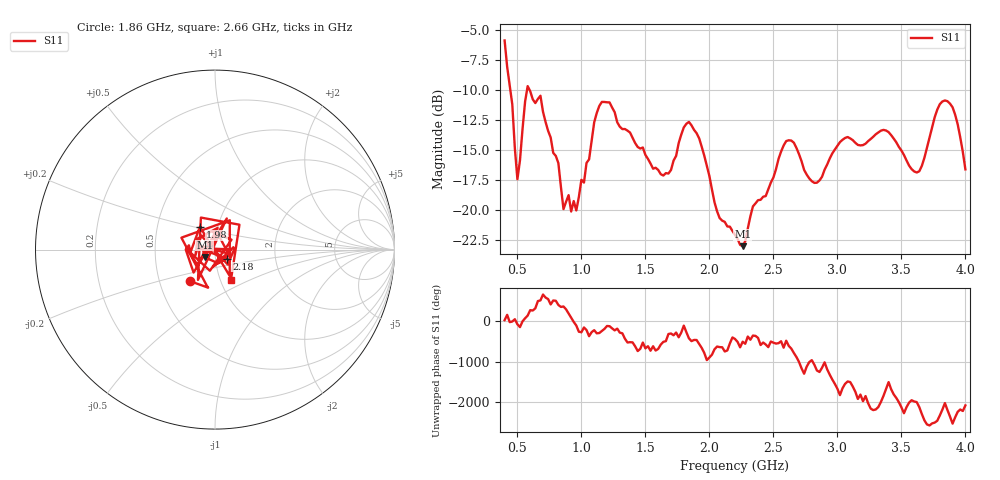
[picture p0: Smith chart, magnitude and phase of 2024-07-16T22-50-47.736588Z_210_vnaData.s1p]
!Created with skrf (http://scikit-rf.org).
# Hz S RI R 50.0
!freq ReS11 ImS11
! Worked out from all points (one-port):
!   181 points, 400 MHz to 4 GHz, reference 50 ohm
!   lowest |S11| = -23.0 dB at 2.26 GHz (marker M1), VSWR 1.15, Z = 44.5 - j3.7 ohm
!   |S11| at or under -10 dB: 444.3 MHz to 575 MHz (130.7 MHz wide, 25.6 % of centre); 595.3 MHz to end of sweep
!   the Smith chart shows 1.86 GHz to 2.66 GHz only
!   S11 on the Smith chart (normalised r, x): 1.86 GHz: 0.71, -0.26; 1.98 GHz: 0.82, +0.21; 2.18 GHz: 1.13, -0.11; 2.66 GHz: 1.12, -0.39
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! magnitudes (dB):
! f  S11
! 400 MHz  -5.9
! 460 MHz  -11.2
! 500 MHz  -17.5
! 580 MHz  -9.7
! 680 MHz  -10.5
! 820 MHz  -16.1
! 860 MHz  -19.9
! 960 MHz  -20.1
! 1.16 GHz  -11.0
! 1.3 GHz  -13.1
! 1.64 GHz  -17.1
! 1.76 GHz  -14.4
! 1.86 GHz  -12.9
! 1.98 GHz  -16.4
! 2.08 GHz  -20.7
! 2.18 GHz  -21.8
! 2.2 GHz  -22.1
! 2.26 GHz  -23.0
! 2.34 GHz  -19.7
! 2.66 GHz  -14.4
! 2.84 GHz  -17.7
! 3.1 GHz  -14.0
! 3.38 GHz  -13.4
! 3.56 GHz  -16.3
! 3.64 GHz  -16.8
! 3.84 GHz  -10.9
! 3.92 GHz  -12.1
! 4 GHz  -16.6
